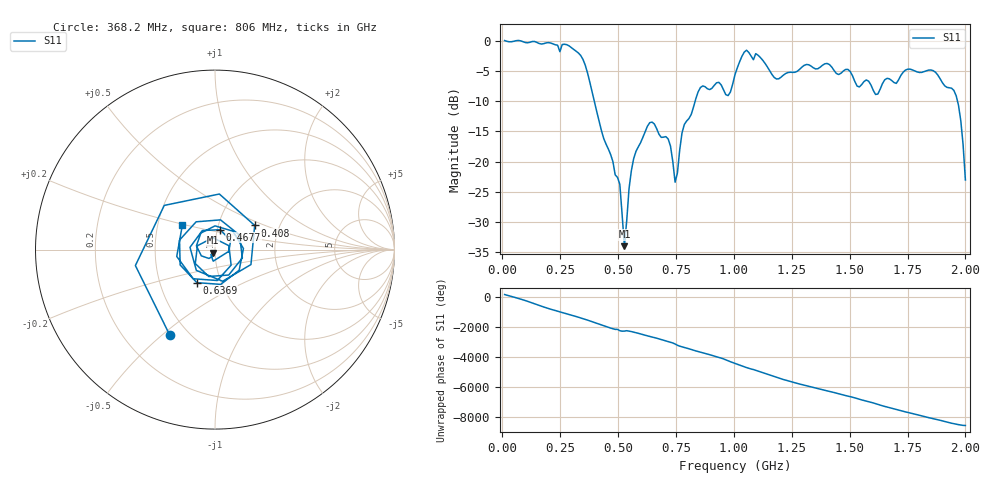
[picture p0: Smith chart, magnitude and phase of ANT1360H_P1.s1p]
!Created with skrf (http://scikit-rf.org).
# Hz S RI R 50.0
!freq ReS11 ImS11
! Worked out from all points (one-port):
!   201 points, 10 MHz to 2 GHz, reference 50 ohm
!   lowest |S11| = -34.0 dB at 527.4 MHz (marker M1), VSWR 1.04, Z = 48.9 - j1.62 ohm
!   |S11| at or under -10 dB: 397.1 MHz to 832.9 MHz (435.8 MHz wide, 70.9 % of centre); 1.966 GHz to end of sweep
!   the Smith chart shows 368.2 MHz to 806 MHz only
!   S11 on the Smith chart (normalised r, x): 368.2 MHz: 0.39, -0.53; 408 MHz: 1.49, +0.43; 467.7 MHz: 1.03, +0.23; 636.9 MHz: 0.77, -0.30; 806 MHz: 0.67, +0.19
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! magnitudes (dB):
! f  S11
! 10 MHz  0.0
! 258.8 MHz  -0.6
! 368.2 MHz  -5.3
! 408 MHz  -11.7
! 467.7 MHz  -18.8
! 507.5 MHz  -23.7
! 527.4 MHz  -34.0
! 547.3 MHz  -24.5
! 567.2 MHz  -19.5
! 636.9 MHz  -13.6
! 716.5 MHz  -16.3
! 746.3 MHz  -23.4
! 756.2 MHz  -21.9
! 776.1 MHz  -15.3
! 806 MHz  -12.9
! 855.8 MHz  -7.7
! 935.4 MHz  -6.9
! 975.1 MHz  -9.1
! 1.005 GHz  -5.6
! 1.055 GHz  -1.6
! 1.184 GHz  -6.3
! 1.254 GHz  -5.2
! 1.502 GHz  -5.1
! 1.612 GHz  -8.9
! 1.751 GHz  -4.7
! 1.95 GHz  -8.2
! 1.98 GHz  -13.2
! 2 GHz  -23.0
